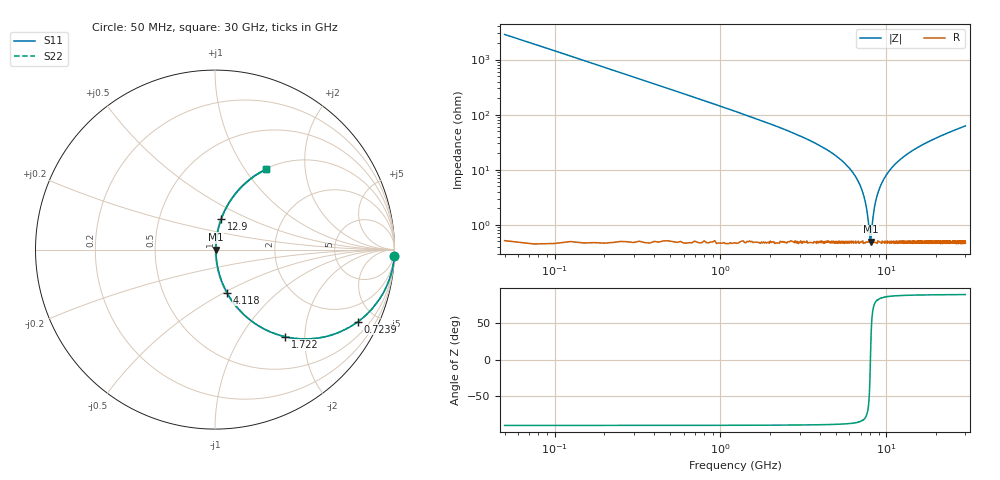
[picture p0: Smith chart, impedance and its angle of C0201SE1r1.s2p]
!	AVX Thin Film Operation 	Date: April 2014
!	Description: Accu-P® Series, Thin Film  SMD RF Capacitor
!	Part Number: 02015J1R1PBSTR
# MHZ S MA R 50
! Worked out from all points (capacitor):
!   1201 points, 50 MHz to 30 GHz, reference 50 ohm
!   read as one part in series: C = 1.1 pF near 199.8 MHz
!   lowest |Z| = 497 mohm at 8.037 GHz (marker M1)
!   series resonance near 8.026 GHz, so ESL is about 360 pH
!   S11 on the Smith chart (normalised r, x): 50 MHz: 2, -58; 723.9 MHz: 1.01, -3.97; 1.722 GHz: 1.01, -1.60; 4.118 GHz: 1.01, -0.52; 12.9 GHz: 1.01, +0.35; 30 GHz: 1.01, +1.25
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50  0.999 -2.0  0.035 88.0  0.035 88.0  0.999 -2.0
324.542  0.975 -12.7  0.219 77.3  0.219 77.3  0.975 -12.7
723.875  0.892 -26.7  0.45 63.1  0.45 63.1  0.892 -26.7
1722.208  0.624 -51.1  0.778 38.6  0.778 38.6  0.624 -51.1
2720.542  0.424 -64.3  0.901 25.1  0.901 25.1  0.424 -64.3
4118.208  0.249 -74.5  0.964 14.4  0.964 14.4  0.249 -74.5
5041.667  0.17 -78.6  0.981 9.8  0.981 9.8  0.17 -78.6
6289.583  0.088 -81.8  0.991 5.0  0.991 5.0  0.088 -81.8
7063.292  0.046 -81.4  0.994 2.6  0.994 2.6  0.046 -81.4
7537.5  0.023 -76.6  0.995 1.3  0.995 1.3  0.023 -76.6
7936.833  0.006272 -39.3  0.995 0.2  0.995 0.2  0.006272 -39.3
8036.667  0.004862 5.8  0.995 -0.0  0.995 -0.0  0.004862 5.8
8136.5  0.006901 45.2  0.995 -0.3  0.995 -0.3  0.006901 45.2
8460.958  0.02 74.6  0.995 -1.1  0.995 -1.1  0.02 74.6
8760.458  0.032 79.5  0.995 -1.8  0.995 -1.8  0.032 79.5
9259.625  0.052 81.7  0.994 -2.9  0.994 -2.9  0.052 81.7
10058.29  0.082 81.9  0.992 -4.7  0.992 -4.7  0.082 81.9
12903.54  0.174 78.4  0.98 -10.0  0.98 -10.0  0.174 78.4
15025  0.233 75.3  0.968 -13.5  0.968 -13.5  0.233 75.3
20016.67  0.352 68.7  0.932 -20.6  0.932 -20.6  0.352 68.7
25033.29  0.449 62.8  0.889 -26.7  0.889 -26.7  0.449 62.8
30000  0.529 57.6  0.845 -31.9  0.845 -31.9  0.529 57.6
